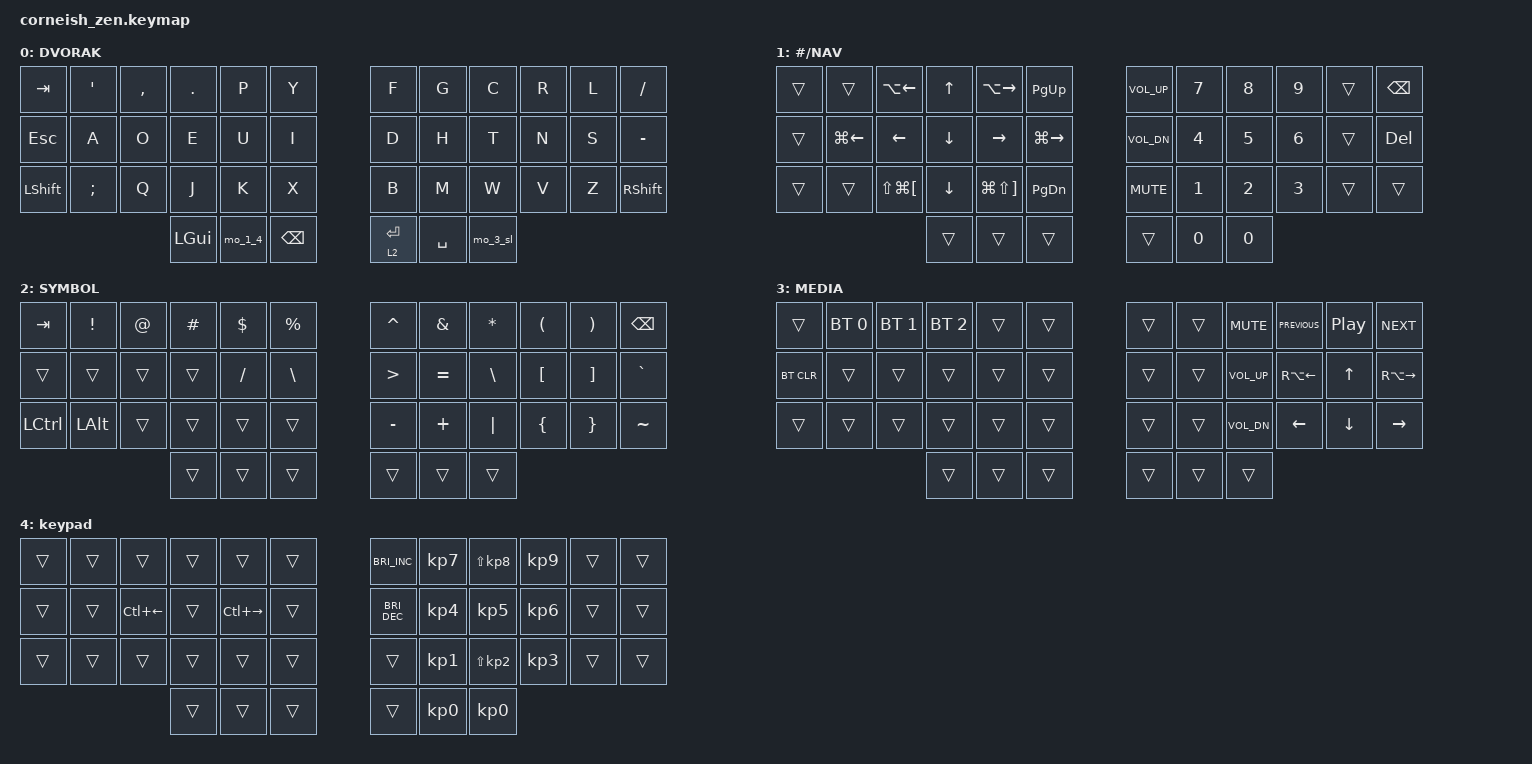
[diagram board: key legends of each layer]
#include <behaviors.dtsi>
#include <dt-bindings/zmk/bt.h>
#include <dt-bindings/zmk/keys.h>

/ {
    chosen {
        zmk,matrix_transform = &default_transform;

        //zmk,matrix_transform = &five_column_transform;
    };
};

/ {
    behaviors {
        mo_3_sl: mo_3_sl {
            compatible = "zmk,behavior-tap-dance";
            label = "MO_3_SL";
            #binding-cells = <0>;
            bindings = <&mo 3>, <&kp SCROLLLOCK>;

            tapping-term-ms = <500>;
        };

        mo_1_4: mo_1_4 {
            compatible = "zmk,behavior-tap-dance";
            label = "MO_1_4";
            #binding-cells = <0>;
            bindings = <&mo 1>, <&mo 4>;

            tapping-term-ms = <500>;
        };

        return_symbol: return_symbol {
            compatible = "zmk,behavior-hold-tap";
            label = "RETURN_SYMBOL";
            bindings = <&mo>, <&kp>;

            #binding-cells = <2>;
            tapping-term-ms = <200>;
            quick-tap-ms = <200>;
        };

        mo_f17_f18: mo_f17_f18 {
            compatible = "zmk,behavior-tap-dance";
            label = "MO_F17_F18";
            #binding-cells = <0>;
            bindings = <&kp F17>, <&kp F18>;

            tapping-term-ms = <500>;
        };
    };

    combos {
        compatible = "zmk,combos";

        left_symbol_combo {
            bindings = <&mo 2>;
            key-positions = <14 15 16>;
        };

        right_symbol_combo {
            bindings = <&mo 2>;
            key-positions = <21 20 19>;
        };

        left_nav_media_combo {
            bindings = <&mo 3>;
            key-positions = <26 27 28>;
        };

        emoji_combo {
            bindings = <&kp LC(LG(SPACE))>;
            key-positions = <24 35>;
        };

        developer_tools_combo {
            bindings = <&kp LA(LG(I))>;
            key-positions = <0 11>;
        };

        left_ctrl_combo {
            bindings = <&kp LCTRL>;
            key-positions = <24 25>;
        };

        left_opt_combo {
            bindings = <&kp LEFT_ALT>;
            key-positions = <24 25 26>;
        };

        right_ctrl_combo {
            bindings = <&kp RCTRL>;
            key-positions = <35 34>;
        };

        right_opt_combo {
            bindings = <&kp RALT>;
            key-positions = <35 34 33>;
        };

        left_globe_combo {
            bindings = <&kp GLOBE>;
            key-positions = <24 25 26 27>;
        };

        right_app_combo {
            bindings = <&mo_f17_f18>;
            key-positions = <35 34 33 32>;
        };
    };

    keymap {
        compatible = "zmk,keymap";

        base {
            label = "DVORAK";

            // -----------------------------------------------------------------------------------------
            // |  TAB |  Q  |  W  |  E  |  R  |  T  |   |  Y  |  U   |  I  |  O  |  P  | BKSP |
            // | CTRL |  A  |  S  |  D  |  F  |  G  |   |  H  |  J   |  K  |  L  |  ;  |  '   |
            // | SHFT |  Z  |  X  |  C  |  V  |  B  |   |  N  |  M   |  ,  |  .  |  /  | ESC  |
            //                    | GUI | LWR | SPC |   | ENT | RSE  | ALT |

            bindings = <
&kp TAB     &kp SQT        &kp COMMA  &kp PERIOD    &kp P    &kp Y            &kp F                 &kp G      &kp C     &kp R  &kp L  &kp SLASH
&kp ESCAPE  &kp A          &kp O      &kp E         &kp U    &kp I            &kp D                 &kp H      &kp T     &kp N  &kp S  &kp MINUS
&kp LSHIFT  &kp SEMICOLON  &kp Q      &kp J         &kp K    &kp X            &kp B                 &kp M      &kp W     &kp V  &kp Z  &kp RSHIFT
                                      &kp LEFT_GUI  &mo_1_4  &kp BACKSPACE    &return_symbol 2 RET  &kp SPACE  &mo_3_sl
            >;
        };

        num_nav {
            label = "#/NAV";

            // -----------------------------------------------------------------------------------------
            // |  TAB |  1  |  2  |  3  |  4  |  5  |   |  6  |  7  |  8  |  9  |  0  | BKSP |
            // | BTCLR| BT1 | BT2 | BT3 | BT4 | BT5 |   | LFT | DWN |  UP | RGT |     |      |
            // | SHFT |     |     |     |     |     |   |     |     |     |     |     |      |
            //                    | GUI |     | SPC |   | ENT |     | ALT |

            bindings = <
&trans  &trans        &kp LA(LEFT)              &kp UP_ARROW    &kp LA(RIGHT)              &kp PAGE_UP      &kp C_VOLUME_UP  &kp N7        &kp N8        &kp N9        &trans  &kp BSPC
&trans  &kp LG(LEFT)  &kp LEFT                  &kp DOWN_ARROW  &kp RIGHT                  &kp LG(RIGHT)    &kp C_VOL_DN     &kp NUMBER_4  &kp NUMBER_5  &kp NUMBER_6  &trans  &kp DELETE
&trans  &trans        &kp LS(LG(LEFT_BRACKET))  &kp DOWN        &kp LG(LS(RIGHT_BRACKET))  &kp PAGE_DOWN    &kp K_MUTE       &kp NUMBER_1  &kp NUMBER_2  &kp NUMBER_3  &trans  &trans
                                                &trans          &trans                     &trans           &trans           &kp NUMBER_0  &kp NUMBER_0
            >;
        };

        symbol {
            label = "SYMBOL";

            // -----------------------------------------------------------------------------------------
            // |  TAB |  !  |  @  |  #  |  $  |  %  |   |  ^  |  &  |  *  |  (  |  )  | BKSP |
            // | CTRL |     |     |     |     |     |   |  -  |  =  |  [  |  ]  |  \  |  `   |
            // | SHFT |     |     |     |     |     |   |  _  |  +  |  {  |  }  | "|" |  ~   |
            //                    | GUI |     | SPC |   | ENT |     | ALT |

            bindings = <
&kp TAB           &kp EXCL      &kp AT  &kp HASH  &kp DLLR   &kp PRCNT    &kp CARET         &kp AMPS   &kp STAR       &kp LPAR          &kp RPAR           &kp BSPC
&trans            &trans        &trans  &trans    &kp SLASH  &kp BSLH     &kp GREATER_THAN  &kp EQUAL  &kp BACKSLASH  &kp LEFT_BRACKET  &kp RIGHT_BRACKET  &kp GRAVE
&kp LEFT_CONTROL  &kp LEFT_ALT  &trans  &trans    &trans     &trans       &kp MINUS         &kp PLUS   &kp PIPE       &kp LBRC          &kp RBRC           &kp TILDE
                                        &trans    &trans     &trans       &trans            &trans     &trans
            >;
        };

        rh_nav_media_bt {
            bindings = <
&trans      &bt BT_SEL 0  &bt BT_SEL 1  &bt BT_SEL 2  &trans  &trans    &trans  &trans  &kp K_MUTE       &kp C_PREVIOUS      &kp C_PLAY_PAUSE  &kp C_NEXT
&bt BT_CLR  &trans        &trans        &trans        &trans  &trans    &trans  &trans  &kp C_VOLUME_UP  &kp RA(LEFT_ARROW)  &kp UP_ARROW      &kp RA(RIGHT)
&trans      &trans        &trans        &trans        &trans  &trans    &trans  &trans  &kp C_VOL_DN     &kp LEFT_ARROW      &kp DOWN          &kp RIGHT
                                        &trans        &trans  &trans    &trans  &trans  &trans
            >;

            label = "MEDIA";
        };

        keypad {
            bindings = <
&trans  &trans  &trans        &trans  &trans         &trans    &kp C_BRIGHTNESS_INC  &kp KP_N7  &kp LS(KP_N8)  &kp KP_N9  &trans  &trans
&trans  &trans  &kp LC(LEFT)  &trans  &kp LC(RIGHT)  &trans    &kp C_BRIGHTNESS_DEC  &kp KP_N4  &kp KP_N5      &kp KP_N6  &trans  &trans
&trans  &trans  &trans        &trans  &trans         &trans    &trans                &kp KP_N1  &kp LS(KP_N2)  &kp KP_N3  &trans  &trans
                              &trans  &trans         &trans    &trans                &kp KP_N0  &kp KP_N0
            >;
        };
    };
};
